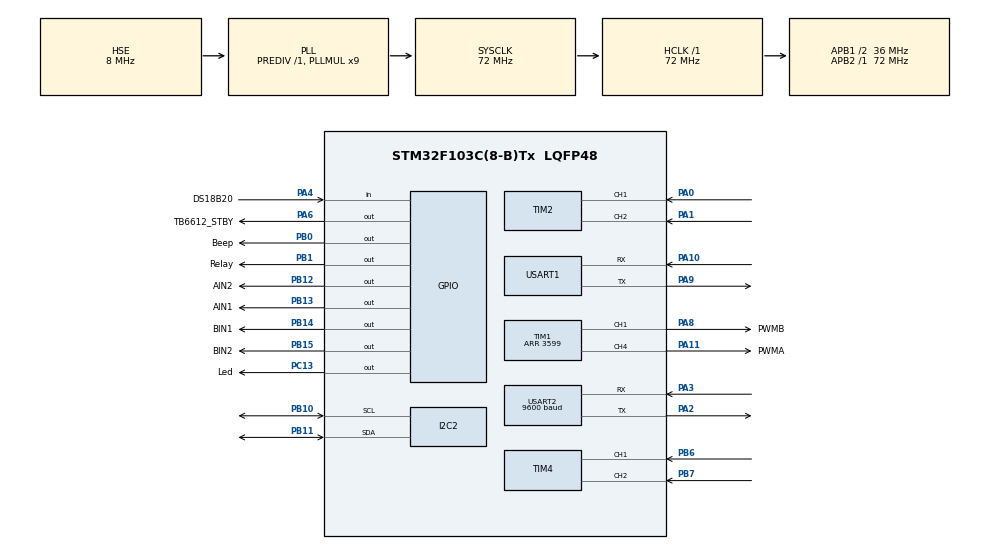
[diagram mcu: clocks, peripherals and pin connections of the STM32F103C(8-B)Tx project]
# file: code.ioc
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FREERTOS.Tasks01=defaultTask,24,128,StartDefaultTask,Default,NULL,Dynamic,NULL,NULL;myTask_Led,24,128,StartTask_Led,Default,NULL,Dynamic,NULL,NULL
FREERTOS.configCHECK_FOR_STACK_OVERFLOW=2
FREERTOS.configTOTAL_HEAP_SIZE=8192
IWDG.Prescaler=IWDG_PRESCALER_64
IWDG.Reload=1250
Mcu.Family=STM32F1
Mcu.Name=STM32F103C(8-B)Tx
Mcu.Package=LQFP48
NVIC.PriorityGroup=NVIC_PRIORITYGROUP_4
NVIC.TIM3_IRQn=true\:15\:0\:true\:false\:true\:false\:false\:true\:true
NVIC.TimeBase=TIM3_IRQn
NVIC.TimeBaseIP=TIM3
NVIC.USART1_IRQn=true\:5\:0\:false\:false\:true\:true\:true\:true\:true
NVIC.USART2_IRQn=true\:5\:0\:false\:false\:true\:true\:true\:true\:true
PA0-WKUP.Signal=S_TIM2_CH1_ETR
PA1.Signal=S_TIM2_CH2
PA10.Mode=Asynchronous
PA10.Signal=USART1_RX
PA11.GPIO_Label=PWMA
PA11.Signal=S_TIM1_CH4
PA13.Mode=Serial_Wire
PA13.Signal=SYS_JTMS-SWDIO
PA14.Mode=Serial_Wire
PA14.Signal=SYS_JTCK-SWCLK
PA2.Mode=Asynchronous
PA2.Signal=USART2_TX
PA3.Mode=Asynchronous
PA3.Signal=USART2_RX
PA4.GPIO_Label=DS18B20
PA4.GPIO_PuPd=GPIO_PULLUP
PA4.Signal=GPIO_Input
PA6.GPIO_Label=TB6612_STBY
PA6.Signal=GPIO_Output
PA8.GPIO_Label=PWMB
PA8.Signal=S_TIM1_CH1
PA9.Mode=Asynchronous
PA9.Signal=USART1_TX
PB0.GPIO_Label=Beep
PB0.Signal=GPIO_Output
PB1.GPIO_Label=Relay
PB1.Signal=GPIO_Output
PB10.Mode=I2C
PB10.Signal=I2C2_SCL
PB11.Mode=I2C
PB11.Signal=I2C2_SDA
PB12.GPIO_Label=AIN2
PB12.Signal=GPIO_Output
PB13.GPIO_Label=AIN1
PB13.Signal=GPIO_Output
PB14.GPIO_Label=BIN1
PB14.Signal=GPIO_Output
PB15.GPIO_Label=BIN2
PB15.Signal=GPIO_Output
PB6.Signal=S_TIM4_CH1
PB7.Signal=S_TIM4_CH2
PC13-TAMPER-RTC.GPIO_Label=Led
PC13-TAMPER-RTC.Signal=GPIO_Output
PD0-OSC_IN.Mode=HSE-External-Oscillator
PD0-OSC_IN.Signal=RCC_OSC_IN
PD1-OSC_OUT.Mode=HSE-External-Oscillator
PD1-OSC_OUT.Signal=RCC_OSC_OUT
ProjectManager.HeapSize=0x200
ProjectManager.StackSize=0x400
ProjectManager.TargetToolchain=MDK-ARM V5.32
RCC.AHBFreq_Value=72000000
RCC.APB1CLKDivider=RCC_HCLK_DIV2
RCC.APB1Freq_Value=36000000
RCC.APB1TimFreq_Value=72000000
RCC.APB2Freq_Value=72000000
RCC.APB2TimFreq_Value=72000000
RCC.HCLKFreq_Value=72000000
RCC.PLLMUL=RCC_PLL_MUL9
RCC.PLLSourceVirtual=RCC_PLLSOURCE_HSE
RCC.SYSCLKFreq_VALUE=72000000
RCC.SYSCLKSource=RCC_SYSCLKSOURCE_PLLCLK
RCC.USBFreq_Value=72000000
SH.S_TIM1_CH1.0=TIM1_CH1,PWM Generation1 CH1
SH.S_TIM1_CH4.0=TIM1_CH4,PWM Generation4 CH4
SH.S_TIM2_CH1_ETR.0=TIM2_CH1,Encoder_Interface
SH.S_TIM2_CH2.0=TIM2_CH2,Encoder_Interface
SH.S_TIM4_CH1.0=TIM4_CH1,Encoder_Interface
SH.S_TIM4_CH2.0=TIM4_CH2,Encoder_Interface
TIM1.Channel-PWM\ Generation1\ CH1=TIM_CHANNEL_1
TIM1.Channel-PWM\ Generation4\ CH4=TIM_CHANNEL_4
TIM1.Period=3599
TIM2.EncoderMode=TIM_ENCODERMODE_TI12
TIM2.IC1Filter=4
TIM2.IC2Filter=4
TIM4.EncoderMode=TIM_ENCODERMODE_TI12
TIM4.IC1Filter=4
TIM4.IC2Filter=4
USART1.VirtualMode=VM_ASYNC
USART2.BaudRate=9600
USART2.VirtualMode=VM_ASYNC
VP_FREERTOS_VS_CMSIS_V2.Mode=CMSIS_V2
VP_IWDG_VS_IWDG.Mode=IWDG_Activate
VP_SYS_VS_tim3.Mode=TIM3
VP_TIM1_VS_ClockSourceINT.Mode=Internal
board=custom

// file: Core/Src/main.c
/* USER CODE BEGIN Header */
/**
  ******************************************************************************
  * @file           : main.c
  * @brief          : Main program body
  ******************************************************************************
  * @attention
  *
  * Copyright (c) 2026 STMicroelectronics.
  * All rights reserved.
  *
  * This software is licensed under terms that can be found in the LICENSE file
  * in the root directory of this software component.
  * If no LICENSE file comes with this software, it is provided AS-IS.
  *
  ******************************************************************************
  */
/* USER CODE END Header */
#include "main.h"
#include "cmsis_os.h"
#include "i2c.h"
#include "tim.h"
#include "usart.h"
#include "gpio.h"

/* USER CODE BEGIN Includes */
#include "robot_app.h"
#include "robot_config.h"
#if ROBOT_IWDG_ENABLE
#include "iwdg.h"
#endif

/* USER CODE END Includes */

void SystemClock_Config(void);
void MX_FREERTOS_Init(void);

int main(void)
{

  /* MCU Configuration--------------------------------------------------------*/

  /* Reset of all peripherals, Initializes the Flash interface and the Systick. */
  HAL_Init();

  /* Configure the system clock */
  SystemClock_Config();

  /* Initialize all configured peripherals */
  MX_GPIO_Init();
  MX_I2C2_Init();
  MX_TIM1_Init();
  MX_TIM2_Init();
  MX_TIM4_Init();
  MX_USART1_UART_Init();
  MX_USART2_UART_Init();
#if ROBOT_IWDG_ENABLE
  MX_IWDG_Init();
#endif
  /* USER CODE BEGIN 2 */
  RobotApp_BoardInit();

  /* USER CODE END 2 */

  /* Init scheduler */
  osKernelInitialize();  /* Call init function for freertos objects (in cmsis_os2.c) */
  MX_FREERTOS_Init();

  /* Start scheduler */
  osKernelStart();

  /* We should never get here as control is now taken by the scheduler */

  /* Infinite loop */
  while (1)
  {

  }
}

void SystemClock_Config(void)
{
  RCC_OscInitTypeDef RCC_OscInitStruct = {0};
  RCC_ClkInitTypeDef RCC_ClkInitStruct = {0};

  /** Initializes the RCC Oscillators according to the specified parameters
  * in the RCC_OscInitTypeDef structure.
  */
  RCC_OscInitStruct.OscillatorType = RCC_OSCILLATORTYPE_LSI|RCC_OSCILLATORTYPE_HSE;
  RCC_OscInitStruct.HSEState = RCC_HSE_ON;
  RCC_OscInitStruct.HSEPredivValue = RCC_HSE_PREDIV_DIV1;
  RCC_OscInitStruct.HSIState = RCC_HSI_ON;
  RCC_OscInitStruct.LSIState = RCC_LSI_ON;
  RCC_OscInitStruct.PLL.PLLState = RCC_PLL_ON;
  RCC_OscInitStruct.PLL.PLLSource = RCC_PLLSOURCE_HSE;
  RCC_OscInitStruct.PLL.PLLMUL = RCC_PLL_MUL9;
  if (HAL_RCC_OscConfig(&RCC_OscInitStruct) != HAL_OK)
  {
    Error_Handler();
  }

  /** Initializes the CPU, AHB and APB buses clocks
  */
  RCC_ClkInitStruct.ClockType = RCC_CLOCKTYPE_HCLK|RCC_CLOCKTYPE_SYSCLK
                              |RCC_CLOCKTYPE_PCLK1|RCC_CLOCKTYPE_PCLK2;
  RCC_ClkInitStruct.SYSCLKSource = RCC_SYSCLKSOURCE_PLLCLK;
  RCC_ClkInitStruct.AHBCLKDivider = RCC_SYSCLK_DIV1;
  RCC_ClkInitStruct.APB1CLKDivider = RCC_HCLK_DIV2;
  RCC_ClkInitStruct.APB2CLKDivider = RCC_HCLK_DIV1;

  if (HAL_RCC_ClockConfig(&RCC_ClkInitStruct, FLASH_LATENCY_2) != HAL_OK)
  {
    Error_Handler();
  }
}

void HAL_TIM_PeriodElapsedCallback(TIM_HandleTypeDef *htim)
{
  if (htim->Instance == TIM3)
  {
    HAL_IncTick();
  }
}

void Error_Handler(void)
{
  __disable_irq();
  while (1)
  {
  }
}

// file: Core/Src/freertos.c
/* USER CODE BEGIN Header */
/**
  ******************************************************************************
  * File Name          : freertos.c
  * Description        : Code for freertos applications
  ******************************************************************************
  * @attention
  *
  * Copyright (c) 2026 STMicroelectronics.
  * All rights reserved.
  *
  * This software is licensed under terms that can be found in the LICENSE file
  * in the root directory of this software component.
  * If no LICENSE file comes with this software, it is provided AS-IS.
  *
  ******************************************************************************
  */
/* USER CODE END Header */

#include "FreeRTOS.h"
#include "task.h"
#include "main.h"
#include "cmsis_os.h"

/* USER CODE BEGIN Includes */
#include "robot_app.h"
#include "robot_motor.h"

/* USER CODE END Includes */

/* Definitions for defaultTask */
osThreadId_t defaultTaskHandle;
const osThreadAttr_t defaultTask_attributes = {
  .name = "defaultTask",
  .stack_size = 128 * 4,
  .priority = (osPriority_t) osPriorityNormal,
};
/* Definitions for myTask_Led */
osThreadId_t myTask_LedHandle;
const osThreadAttr_t myTask_Led_attributes = {
  .name = "myTask_Led",
  .stack_size = 128 * 4,
  .priority = (osPriority_t) osPriorityNormal,
};

void StartDefaultTask(void *argument);
void StartTask_Led(void *argument);

void MX_FREERTOS_Init(void); /* (MISRA C 2004 rule 8.1) */

void MX_FREERTOS_Init(void) {

  /* Create the thread(s) */
  /* creation of defaultTask */
  defaultTaskHandle = osThreadNew(StartDefaultTask, NULL, &defaultTask_attributes);

  /* creation of myTask_Led */
  myTask_LedHandle = osThreadNew(StartTask_Led, NULL, &myTask_Led_attributes);

  /* USER CODE BEGIN RTOS_THREADS */
  RobotApp_CreateTasks();
  /* USER CODE END RTOS_THREADS */

}

void StartDefaultTask(void *argument)
{
  /* USER CODE BEGIN StartDefaultTask */
  RobotApp_DefaultTask(argument);
  /* USER CODE END StartDefaultTask */
}

void StartTask_Led(void *argument)
{
  /* USER CODE BEGIN StartTask_Led */
  RobotApp_StatusLedTask(argument);
  /* USER CODE END StartTask_Led */
}

/* USER CODE BEGIN Application */

/*
 * FreeRTOS 资源异常的统一处理。
 *
 * 进入这里时，系统已经不能继续相信普通任务之间的调度状态，因此不再
 * 使用互斥量、队列或串口。首先关闭电机，再关闭中断并用 LED 产生明显
 * 的故障指示。重新上电后应结合调试器查看具体的断言位置或任务名称。
 */
static void RobotFreeRTOS_FaultLoop(void)
{
  RobotMotor_Stop();
  RobotMotor_Enable(0U);
  HAL_GPIO_WritePin(Led_GPIO_Port, Led_Pin, GPIO_PIN_SET);
  __disable_irq();

  for (;;)
  {
    HAL_GPIO_TogglePin(Led_GPIO_Port, Led_Pin);
    for (volatile uint32_t delay = 0U; delay < 300000U; ++delay)
    {
      __NOP();
    }
  }
}

/*
 * FreeRTOS configASSERT 的处理函数。
 *
 * file 和 line 在发布固件中不通过 UART 输出，避免故障发生时再次卡在
 * 阻塞式串口发送；调试时可在调试器中查看调用栈和这两个参数。
 */
void RobotFreeRTOS_AssertFailed(const char *file, int line)
{
  (void)file;
  (void)line;
  RobotFreeRTOS_FaultLoop();
}

/*
 * 任务堆栈溢出钩子。
 *
 * 如果某个任务栈不够，FreeRTOS 会把任务句柄和任务名传到这里。当前
 * 项目先采用统一安全停车，之后可在调试器中读取 pcTaskName 精确定位。
 */
void vApplicationStackOverflowHook(TaskHandle_t xTask, char *pcTaskName)
{
  (void)xTask;
  (void)pcTaskName;
  RobotFreeRTOS_FaultLoop();
}

/*
 * FreeRTOS 动态内存申请失败钩子。
 *
 * 常见原因是任务栈、定时器任务或其它 RTOS 对象占用的 heap 不足。
 * 进入此处时必须保持电机关闭，不能继续接受运动命令。
 */
void vApplicationMallocFailedHook(void)
{
  RobotFreeRTOS_FaultLoop();
}

/* USER CODE END Application */
